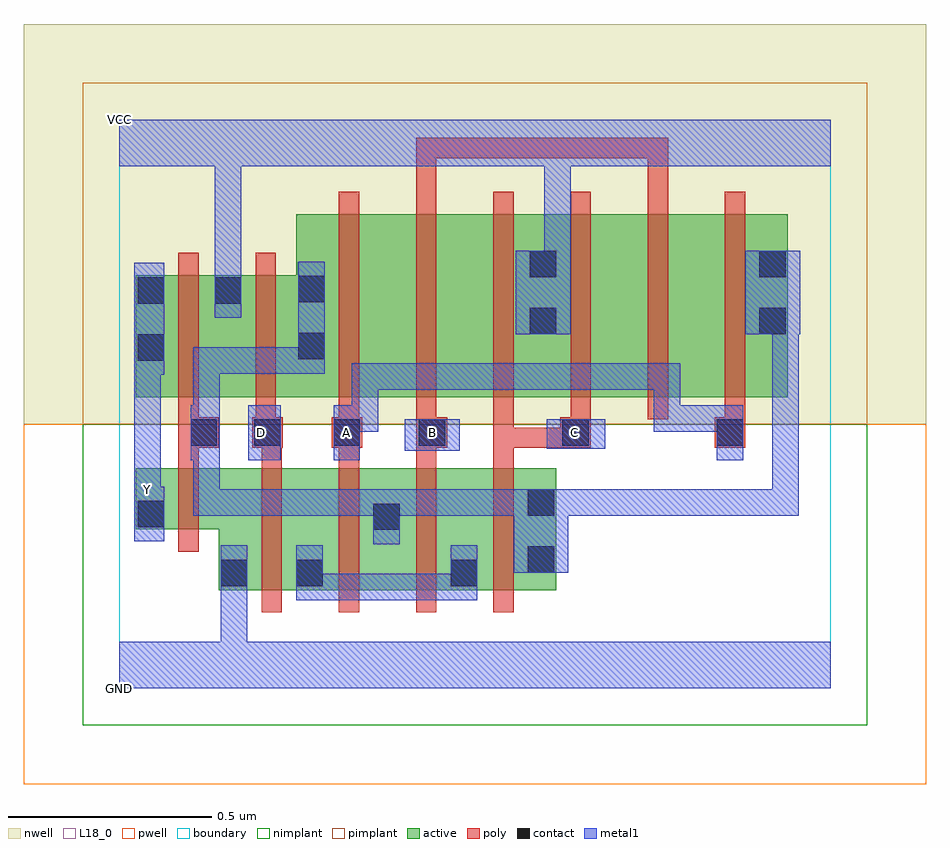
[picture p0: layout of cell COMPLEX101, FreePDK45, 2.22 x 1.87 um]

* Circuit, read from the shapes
.subckt COMPLEX101 A B C D GND VCC Y
M1 GND n1 Y VSUBS nfet w=0.15u l=0.05u
M2 n2 D GND VSUBS nfet w=0.3u l=0.05u
M3 n1 A n2 VSUBS nfet w=0.3u l=0.05u
M4 n2 B n1 VSUBS nfet w=0.3u l=0.05u
M5 n1 C n2 VSUBS nfet w=0.3u l=0.05u
M6 VCC n1 Y n3 pfet w=0.3u l=0.05u
M7 n1 D VCC n3 pfet w=0.3u l=0.05u
M8 n4 A n1 n3 pfet w=0.45u l=0.05u
M9 n5 B n4 n3 pfet w=0.45u l=0.05u
M10 VCC C n5 n3 pfet w=0.45u l=0.05u
M11 n6 C VCC n3 pfet w=0.45u l=0.05u
M12 n7 B n6 n3 pfet w=0.45u l=0.05u
M13 n1 A n7 n3 pfet w=0.45u l=0.05u
.ends

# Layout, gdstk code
import gdstk
lib = gdstk.Library(unit=1e-6, precision=1e-09)
def R(c, l, rs):  # rectangles x0, y0, x1, y1
    for r in rs: c.add(gdstk.rectangle(r[:2], r[2:], *l))
def A(c, l, x, y, w, h, nx, ny, dx, dy):  # array of equal rectangles
    R(c, l, [(x+i*dx, y+j*dy, x+i*dx+w, y+j*dy+h) for i in range(nx) for j in range(ny)])
active = (1, 0)
pwell = (2, 0)
nwell = (3, 0)
nimplant = (4, 0)
pimplant = (5, 0)
poly = (9, 0)
contact = (10, 0)
metal1 = (11, 0)
L18_0 = (18, 0)
boundary = (235, 0)

complex101 = lib.new_cell('COMPLEX101')
A(complex101, active, 0.43, 0.242, 0.265, 0.3, 3, 1, 0.19, 0)
R(complex101, active, [(0.245,0.242,0.32,0.542), (0.245,0.242,0.505,0.542), (0.43,0.242,0.505,0.542), (0.81,0.247,0.885,0.392), (1,0.28,1.075,0.542), (0.62,0.295,0.695,0.46), (0.04,0.392,0.32,0.542), (0.04,0.392,0.115,0.542), (0.04,0.717,0.305,1.017), (0.04,0.717,0.115,1.017), (0.23,0.717,0.51,1.017), (0.435,0.717,0.66,1.167), (0.435,0.717,0.51,1.167), (0.66,0.717,0.85,1.167), (0.85,0.717,1.08,1.167), (1.005,0.717,1.23,1.167), (1.23,0.717,1.42,1.167), (1.42,0.717,1.645,1.167), (1.57,0.717,1.645,1.155), (1.005,0.732,1.08,1.155), (0.23,0.782,0.305,1.017)])
R(complex101, pwell, [(-0.235,-0.235,1.985,0.65)])
R(complex101, nwell, [(-0.235,0.65,1.985,1.635)])
R(complex101, nimplant, [(-0.09,-0.09,1.84,0.65)])
R(complex101, pimplant, [(-0.09,0.65,1.84,1.49)])
A(complex101, poly, 0.35, 0.187, 0.05, 0.41, 4, 1, 0.19, 0)
A(complex101, poly, 0.35, 0.547, 0.05, 0.095, 4, 1, 0.19, 0)
A(complex101, poly, 0.73, 0.617, 0.05, 0.095, 3, 1, 0.38, 0)
A(complex101, poly, 0.54, 0.662, 0.05, 0.56, 6, 1, 0.19, 0)
R(complex101, poly, [(0.145,0.337,0.195,0.597), (0.145,0.547,0.195,0.642), (0.145,0.592,0.245,0.667), (0.327,0.592,0.402,0.667), (0.522,0.592,0.597,0.667), (0.73,0.592,0.807,0.667), (0.92,0.592,0.97,0.642), (0.92,0.592,0.97,0.642), (0.92,0.592,0.97,0.642), (0.92,0.592,1.135,0.642), (0.92,0.592,0.97,0.712), (1.085,0.592,1.16,0.667), (1.465,0.592,1.54,0.667), (0.145,0.617,0.195,0.712), (0.335,0.617,0.385,0.712), (0.54,0.617,0.59,0.712), (0.145,0.662,0.195,1.072), (0.335,0.662,0.385,1.072), (0.73,1.172,0.78,1.355), (1.3,1.172,1.35,1.355), (0.73,1.305,0.78,1.355), (0.73,1.305,0.78,1.355), (0.73,1.305,0.78,1.355), (0.73,1.305,1.002,1.355), (0.952,1.305,1.002,1.355), (0.952,1.305,1.002,1.355), (0.952,1.305,1.002,1.355), (0.952,1.305,1.135,1.355), (1.085,1.305,1.135,1.355), (1.085,1.305,1.35,1.355), (1.3,1.305,1.35,1.355), (1.3,1.305,1.35,1.355), (1.3,1.305,1.35,1.355)])
R(complex101, contact, [(0.25,0.252,0.315,0.317), (0.435,0.252,0.5,0.317), (0.815,0.252,0.88,0.317), (1.005,0.285,1.07,0.35), (0.625,0.39,0.69,0.455), (0.045,0.397,0.11,0.462), (1.005,0.425,1.07,0.49), (0.175,0.597,0.24,0.662), (0.332,0.597,0.397,0.662), (0.527,0.597,0.592,0.662), (0.737,0.597,0.802,0.662), (1.09,0.597,1.155,0.662), (1.47,0.597,1.535,0.662), (0.045,0.807,0.11,0.872), (0.44,0.81,0.505,0.875), (1.01,0.872,1.075,0.937), (1.575,0.872,1.64,0.937), (0.045,0.947,0.11,1.012), (0.235,0.947,0.3,1.012), (0.44,0.95,0.505,1.015), (1.01,1.012,1.075,1.077), (1.575,1.012,1.64,1.077)])
R(complex101, metal1, [(0,0,1.75,0.115), (0.25,0.05,0.315,0.115), (0.25,0.05,0.315,0.115), (0.25,0.05,0.315,0.282), (0.25,0.217,0.315,0.352), (0.435,0.217,0.5,0.352), (0.435,0.217,0.637,0.282), (0.572,0.217,0.637,0.282), (0.572,0.217,0.637,0.282), (0.572,0.217,0.637,0.282), (0.572,0.217,0.775,0.282), (0.71,0.217,0.775,0.282), (0.71,0.217,0.88,0.282), (0.815,0.217,0.88,0.352), (0.97,0.285,1.105,0.49), (0.625,0.355,0.69,0.49), (0.037,0.362,0.11,0.497), (0.037,0.422,0.102,0.557), (0.182,0.425,0.247,0.49), (0.182,0.425,0.455,0.49), (0.182,0.425,0.247,0.697), (0.39,0.425,0.455,0.49), (0.39,0.425,0.455,0.49), (0.39,0.425,0.455,0.49), (0.39,0.425,0.63,0.49), (0.565,0.425,0.63,0.49), (0.565,0.425,0.69,0.49), (0.625,0.425,0.802,0.49), (0.737,0.425,0.802,0.49), (0.737,0.425,0.827,0.49), (0.762,0.425,0.827,0.49), (0.762,0.425,0.98,0.49), (0.915,0.425,0.98,0.49), (0.915,0.425,1.035,0.49), (1.04,0.425,1.242,0.49), (1.177,0.425,1.242,0.49), (1.177,0.425,1.242,0.49), (1.177,0.425,1.242,0.49), (1.177,0.425,1.38,0.49), (1.315,0.425,1.38,0.49), (1.315,0.425,1.38,0.49), (1.315,0.425,1.38,0.49), (1.315,0.425,1.672,0.49), (1.607,0.425,1.672,0.937), (1.607,0.425,1.672,0.49), (1.607,0.425,1.672,0.49), (1.607,0.425,1.672,0.49), (1.607,0.425,1.672,0.49), (1.607,0.425,1.672,0.49), (0.037,0.432,0.102,0.497), (0.037,0.492,0.102,0.837), (0.175,0.562,0.24,0.697), (0.317,0.562,0.397,0.697), (0.527,0.562,0.592,0.697), (1.47,0.562,1.535,0.697), (0.702,0.585,0.837,0.662), (1.052,0.59,1.195,0.662), (0.175,0.632,0.247,0.697), (0.182,0.632,0.247,0.697), (0.182,0.632,0.247,0.84), (0.527,0.632,0.637,0.697), (0.572,0.632,0.637,0.697), (0.572,0.632,0.637,0.8), (1.315,0.632,1.38,0.697), (1.315,0.632,1.535,0.697), (1.315,0.632,1.38,0.8), (0.572,0.735,0.637,0.8), (0.572,0.735,0.802,0.8), (0.737,0.735,0.802,0.8), (0.737,0.735,0.897,0.8), (0.832,0.735,0.897,0.8), (0.832,0.735,0.94,0.8), (0.875,0.735,0.94,0.8), (0.875,0.735,1.105,0.8), (1.04,0.735,1.105,0.8), (1.04,0.735,1.242,0.8), (1.177,0.735,1.242,0.8), (1.177,0.735,1.242,0.8), (1.177,0.735,1.242,0.8), (1.177,0.735,1.38,0.8), (1.315,0.735,1.38,0.8), (1.315,0.735,1.38,0.8), (1.315,0.735,1.38,0.8), (0.037,0.772,0.11,1.047), (0.182,0.775,0.247,0.84), (0.182,0.775,0.455,0.84), (0.39,0.775,0.455,0.84), (0.39,0.775,0.505,0.84), (0.44,0.775,0.505,1.05), (0.975,0.872,1.11,1.077), (1.54,0.872,1.675,1.077), (0.235,0.912,0.3,1.047), (0.235,0.982,0.3,1.047), (0.235,0.982,0.3,1.047), (0.235,0.982,0.3,1.35), (1.045,1.012,1.11,1.35), (0,1.285,1.75,1.4), (0.235,1.285,0.3,1.35), (0.235,1.285,0.3,1.35), (1.045,1.285,1.11,1.35), (1.045,1.285,1.11,1.35)])
A(complex101, L18_0, 0.317, 0.597, 0.065, 0.065, 3, 1, 0.21, 0)
R(complex101, L18_0, [(0,0,1.75,0.115), (0.25,0.05,0.315,0.115), (0.25,0.05,0.315,0.115), (0.25,0.05,0.315,0.282), (0.25,0.217,0.315,0.352), (0.037,0.362,0.11,0.497), (0.037,0.422,0.102,0.557), (0.037,0.432,0.102,0.497), (0.037,0.457,0.102,0.522), (0.037,0.492,0.102,0.837), (0.317,0.562,0.397,0.697), (0.527,0.562,0.592,0.697), (1.47,0.562,1.535,0.697), (0.702,0.585,0.837,0.662), (1.052,0.59,1.195,0.662), (1.087,0.597,1.152,0.662), (0.527,0.632,0.637,0.697), (0.572,0.632,0.637,0.697), (0.572,0.632,0.637,0.8), (1.315,0.632,1.38,0.697), (1.315,0.632,1.38,0.8), (1.315,0.632,1.535,0.697), (0.572,0.735,0.637,0.8), (0.572,0.735,0.802,0.8), (0.737,0.735,0.802,0.8), (0.737,0.735,0.897,0.8), (0.832,0.735,0.897,0.8), (0.832,0.735,0.94,0.8), (0.875,0.735,0.94,0.8), (0.875,0.735,1.105,0.8), (1.04,0.735,1.105,0.8), (1.04,0.735,1.242,0.8), (1.177,0.735,1.242,0.8), (1.177,0.735,1.242,0.8), (1.177,0.735,1.242,0.8), (1.177,0.735,1.38,0.8), (1.315,0.735,1.38,0.8), (1.315,0.735,1.38,0.8), (1.315,0.735,1.38,0.8), (0.037,0.772,0.11,1.047), (0.975,0.872,1.11,1.077), (0.235,0.912,0.3,1.047), (0.235,0.982,0.3,1.047), (0.235,0.982,0.3,1.047), (0.235,0.982,0.3,1.35), (1.045,1.012,1.11,1.35), (0,1.285,1.75,1.4), (0.235,1.285,0.3,1.35), (0.235,1.285,0.3,1.35), (1.045,1.285,1.11,1.35), (1.045,1.285,1.11,1.35)])
R(complex101, boundary, [(0,0,1.75,1.4)])
complex101.add(gdstk.Label('A', (0.56,0.63), layer=11, texttype=0))
complex101.add(gdstk.Label('B', (0.77,0.63), layer=11, texttype=0))
complex101.add(gdstk.Label('C', (1.12,0.63), layer=11, texttype=0))
complex101.add(gdstk.Label('D', (0.35,0.63), layer=11, texttype=0))
complex101.add(gdstk.Label('Y', (0.07,0.49), layer=11, texttype=0))
complex101.add(gdstk.Label('VCC', (0,1.4), layer=11, texttype=0))
complex101.add(gdstk.Label('GND', (0,0), layer=11, texttype=0))

lib.write_gds('COMPLEX101.gds')
